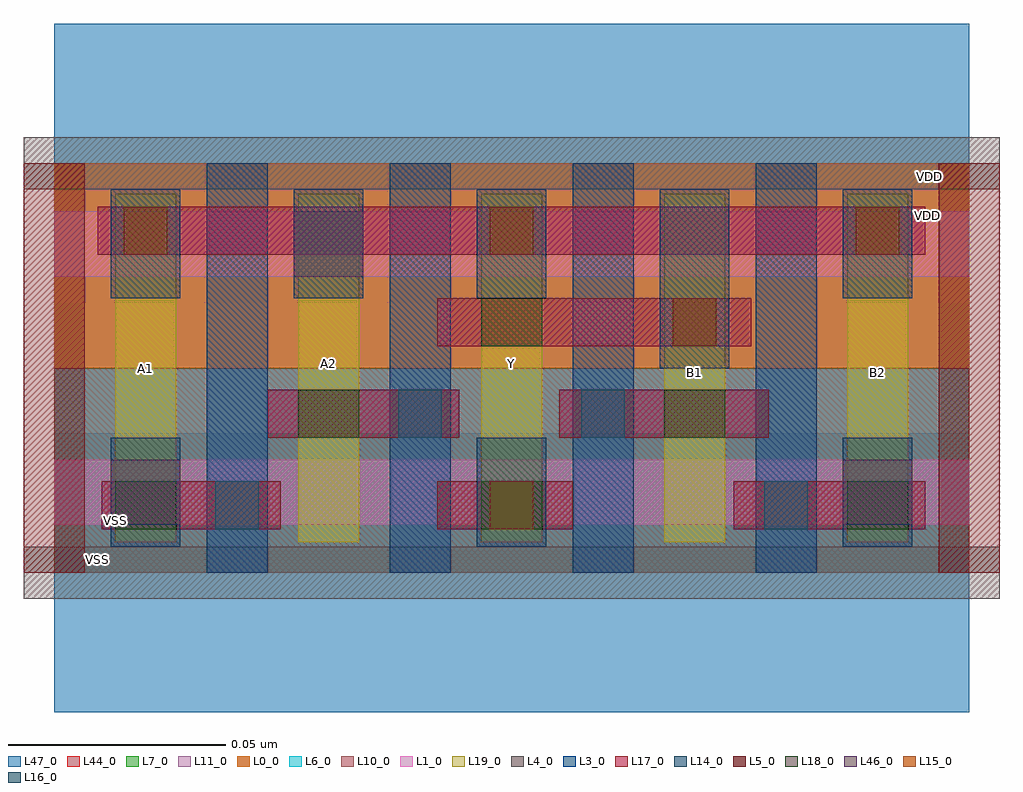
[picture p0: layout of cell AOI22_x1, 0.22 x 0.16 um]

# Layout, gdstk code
import gdstk
lib = gdstk.Library(unit=1e-6, precision=5e-10)
def R(c, l, rs):  # rectangles x0, y0, x1, y1
    for r in rs: c.add(gdstk.rectangle(r[:2], r[2:], *l))
def A(c, l, x, y, w, h, nx, ny, dx, dy):  # array of equal rectangles
    R(c, l, [(x+i*dx, y+j*dy, x+i*dx+w, y+j*dy+h) for i in range(nx) for j in range(ny)])
L0_0 = (0, 0)
L1_0 = (1, 0)
L3_0 = (3, 0)
L4_0 = (4, 0)
L5_0 = (5, 0)
L6_0 = (6, 0)
L7_0 = (7, 0)
L10_0 = (10, 0)
L11_0 = (11, 0)
L14_0 = (14, 0)
L15_0 = (15, 0)
L16_0 = (16, 0)
L17_0 = (17, 0)
L18_0 = (18, 0)
L19_0 = (19, 0)
L44_0 = (44, 0)
L46_0 = (46, 0)
L47_0 = (47, 0)

aoi22_x1 = lib.new_cell('AOI22_x1')
R(aoi22_x1, L0_0, [(0,0.047,0.21,0.094)])
R(aoi22_x1, L1_0, [(0,0.011,0.21,0.026), (0,0.068,0.21,0.083)])
A(aoi22_x1, L3_0, 0.035, 0, 0.014, 0.094, 4, 1, 0.042, 0)
R(aoi22_x1, L4_0, [(-0.007,-0.006,0.217,0.006), (-0.007,0.088,0.217,0.1)])
R(aoi22_x1, L5_0, [(-0.007,0,0.007,0.094), (0.203,0,0.217,0.094)])
R(aoi22_x1, L6_0, [(0,0,0.21,0.047)])
R(aoi22_x1, L7_0, [(0,0.047,0.21,0.094)])
R(aoi22_x1, L10_0, [(0,0,0.21,0.047)])
R(aoi22_x1, L11_0, [(0,0.047,0.21,0.094)])
A(aoi22_x1, L14_0, 0.013, 0.006, 0.016, 0.025, 3, 1, 0.084, 0)
A(aoi22_x1, L14_0, 0.013, 0.063, 0.016, 0.025, 3, 1, 0.042, 0)
R(aoi22_x1, L14_0, [(0.139,0.047,0.155,0.088), (0.181,0.063,0.197,0.088)])
A(aoi22_x1, L15_0, 0.016, 0.073, 0.01, 0.011, 3, 1, 0.084, 0)
R(aoi22_x1, L15_0, [(0.1,0.01,0.11,0.021), (0.142,0.052,0.152,0.063)])
R(aoi22_x1, L16_0, [(0.037,0.01,0.047,0.021), (0.163,0.01,0.173,0.021), (0.079,0.031,0.089,0.042), (0.121,0.031,0.131,0.042)])
R(aoi22_x1, L17_0, [(0.011,0.01,0.052,0.021), (0.088,0.01,0.119,0.021), (0.156,0.01,0.2,0.021), (0.049,0.031,0.093,0.042), (0.116,0.031,0.164,0.042), (0.088,0.052,0.16,0.063), (0.01,0.073,0.2,0.084)])
A(aoi22_x1, L18_0, 0.014, 0.01, 0.014, 0.011, 3, 1, 0.084, 0)
R(aoi22_x1, L18_0, [(0.056,0.031,0.07,0.042), (0.14,0.031,0.154,0.042), (0.098,0.052,0.112,0.063)])
A(aoi22_x1, L19_0, 0.014, 0.007, 0.014, 0.08, 5, 1, 0.042, 0)
R(aoi22_x1, L44_0, [(0,0,0.21,0.094)])
R(aoi22_x1, L46_0, [(0.013,0.011,0.029,0.026), (0.181,0.011,0.197,0.026), (0.055,0.068,0.071,0.083)])
R(aoi22_x1, L47_0, [(0,-0.032,0.21,0.032), (0,0.062,0.21,0.126)])
aoi22_x1.add(gdstk.Label('VSS', (0.01,0.003), layer=54, texttype=2))
aoi22_x1.add(gdstk.Label('Y', (0.105,0.048), layer=19, texttype=2))
aoi22_x1.add(gdstk.Label('A2', (0.063,0.048), layer=19, texttype=2))
aoi22_x1.add(gdstk.Label('B1', (0.147,0.046), layer=19, texttype=2))
aoi22_x1.add(gdstk.Label('A1', (0.021,0.047), layer=19, texttype=2))
aoi22_x1.add(gdstk.Label('B2', (0.189,0.046), layer=19, texttype=2))
aoi22_x1.add(gdstk.Label('VDD', (0.201,0.091), layer=0, texttype=2))
aoi22_x1.add(gdstk.Label('VSS', (0.014,0.012), layer=47, texttype=2))
aoi22_x1.add(gdstk.Label('VDD', (0.2005,0.082), layer=47, texttype=2))

lib.write_gds('AOI22_x1.gds')
